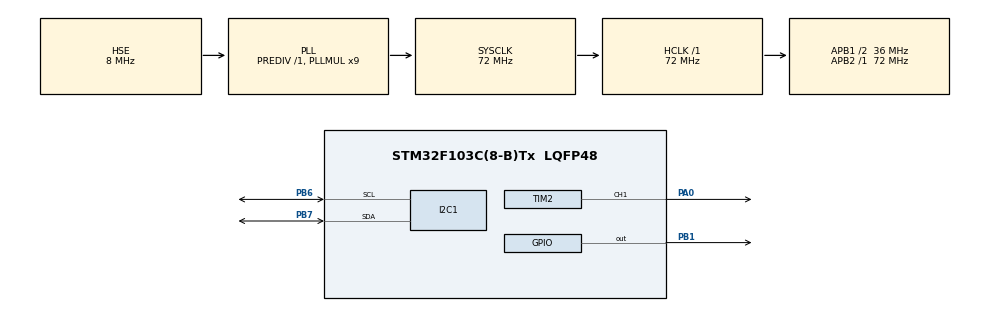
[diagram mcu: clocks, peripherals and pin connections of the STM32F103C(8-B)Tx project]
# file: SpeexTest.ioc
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Mcu.Family=STM32F1
Mcu.Name=STM32F103C(8-B)Tx
Mcu.Package=LQFP48
NVIC.PriorityGroup=NVIC_PRIORITYGROUP_4
NVIC.TIM3_IRQn=true\:0\:0\:false\:false\:true
PA0-WKUP.Signal=S_TIM2_CH1_ETR
PA13.Mode=Serial_Wire
PA13.Signal=SYS_JTMS-SWDIO
PA14.Mode=Serial_Wire
PA14.Signal=SYS_JTCK-SWCLK
PB1.Signal=GPIO_Output
PB6.Mode=I2C
PB6.Signal=I2C1_SCL
PB7.Mode=I2C
PB7.Signal=I2C1_SDA
PD0-OSC_IN.Mode=HSE-External-Oscillator
PD0-OSC_IN.Signal=RCC_OSC_IN
PD1-OSC_OUT.Mode=HSE-External-Oscillator
PD1-OSC_OUT.Signal=RCC_OSC_OUT
ProjectManager.HeapSize=0x200
ProjectManager.StackSize=0x400
ProjectManager.TargetToolchain=SW4STM32
RCC.AHBFreq_Value=72000000
RCC.APB1CLKDivider=RCC_HCLK_DIV2
RCC.APB1Freq_Value=36000000
RCC.APB1TimFreq_Value=72000000
RCC.APB2Freq_Value=72000000
RCC.APB2TimFreq_Value=72000000
RCC.HCLKFreq_Value=72000000
RCC.HSIState=RCC_HSI_ON
RCC.PLLMUL=RCC_PLL_MUL9
RCC.PLLSourceVirtual=RCC_PLLSOURCE_HSE
RCC.SYSCLKFreq_VALUE=72000000
RCC.SYSCLKSource=RCC_SYSCLKSOURCE_PLLCLK
RCC.USBFreq_Value=72000000
SH.S_TIM2_CH1_ETR.0=TIM2_CH1,PWM Generation1 CH1
TIM2.OCFastMode_PWM-PWM\ Generation1\ CH1=TIM_OCFAST_DISABLE
TIM2.Period=1024
TIM3.Period=3000
VP_TIM3_VS_ClockSourceINT.Mode=Internal
board=SpeexTest

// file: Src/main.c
/**
  ******************************************************************************
  * File Name          : main.c
  * Description        : Main program body
  ******************************************************************************
  *
  * COPYRIGHT(c) 2017 STMicroelectronics
  *
  * Redistribution and use in source and binary forms, with or without modification,
  * are permitted provided that the following conditions are met:
  *   1. Redistributions of source code must retain the above copyright notice,
  *      this list of conditions and the following disclaimer.
  *   2. Redistributions in binary form must reproduce the above copyright notice,
  *      this list of conditions and the following disclaimer in the documentation
  *      and/or other materials provided with the distribution.
  *   3. Neither the name of STMicroelectronics nor the names of its contributors
  *      may be used to endorse or promote products derived from this software
  *      without specific prior written permission.
  *
  * THIS SOFTWARE IS PROVIDED BY THE COPYRIGHT HOLDERS AND CONTRIBUTORS "AS IS"
  * AND ANY EXPRESS OR IMPLIED WARRANTIES, INCLUDING, BUT NOT LIMITED TO, THE
  * IMPLIED WARRANTIES OF MERCHANTABILITY AND FITNESS FOR A PARTICULAR PURPOSE ARE
  * DISCLAIMED. IN NO EVENT SHALL THE COPYRIGHT HOLDER OR CONTRIBUTORS BE LIABLE
  * FOR ANY DIRECT, INDIRECT, INCIDENTAL, SPECIAL, EXEMPLARY, OR CONSEQUENTIAL
  * DAMAGES (INCLUDING, BUT NOT LIMITED TO, PROCUREMENT OF SUBSTITUTE GOODS OR
  * SERVICES; LOSS OF USE, DATA, OR PROFITS; OR BUSINESS INTERRUPTION) HOWEVER
  * CAUSED AND ON ANY THEORY OF LIABILITY, WHETHER IN CONTRACT, STRICT LIABILITY,
  * OR TORT (INCLUDING NEGLIGENCE OR OTHERWISE) ARISING IN ANY WAY OUT OF THE USE
  * OF THIS SOFTWARE, EVEN IF ADVISED OF THE POSSIBILITY OF SUCH DAMAGE.
  *
  ******************************************************************************
  */
#include "stm32f1xx_hal.h"

/* USER CODE BEGIN Includes */
#include "config.h"
#include "main.h"
#include "stop.h"
#include "blast1.h"
#include "blast2.h"
#include "laser.h"
#include "detectorBeep.h"
#include "config.h"
#include <speex/speex.h>
#include "arch.h"
#include "math.h"
#include "24C02.h"

#define HAVE_CONFIG_H
#define MEMORY_ADDRESS     0x08

#define FRAME_SIZE              160
#define ENCODED_FRAME_SIZE      20

// #ifdef HAVE_CONFIG_H
// #include "config.h"
// #endif
/* USER CODE END Includes */

I2C_HandleTypeDef hi2c1;

TIM_HandleTypeDef htim2;
TIM_HandleTypeDef htim3;

/* USER CODE BEGIN PV */
/* Private variables ---------------------------------------------------------*/
__IO int16_t OUT_Buffer[2][FRAME_SIZE];//в этих буферах хранятся декодированные данные
__IO int16_t *outBuffer = OUT_Buffer[0];

__IO uint8_t Start_Decoding=0;//для управление декодированием

SpeexBits bits;/* Holds bits so they can be read and written by the Speex routines */
void *enc_state, *dec_state;/* Holds the states of the encoder & the decoder */
int quality = 4, complexity=1, vbr=0, enh=1;/* SPEEX PARAMETERS, MUST REMAINED UNCHANGED */

char input_bytes[ENCODED_FRAME_SIZE];//сюда копируются сжатые звковые данные
//указатель на этот массив передается в функцию декодирования

__IO uint16_t NB_Frames=0;//количество декодированных фреймов

int MAG3110_XOFF=0,MAG3110_YOFF=0;
int MAG3110_XMax=0,MAG3110_YMax=0,MAG3110_XMin=0,MAG3110_YMin=0;
int MAG3110_XData=0,MAG3110_YData=0;
int ang;

uint8_t xBuffer[1];
/* USER CODE END PV */

void SystemClock_Config(void);
void Error_Handler(void);
static void MX_GPIO_Init(void);
static void MX_TIM2_Init(void);
static void MX_TIM3_Init(void);
static void MX_I2C1_Init(void);

void HAL_TIM_MspPostInit(TIM_HandleTypeDef *htim);

/* USER CODE BEGIN PFP */
/* Private function prototypes -----------------------------------------------*/

void Speex_Init(void);
void play_message(unsigned char const *array, uint16_t frame_number);

void MAG3110_Init(void);
void MAG3110_STD(void);

/* USER CODE END PFP */

int main(void)
{

  /* MCU Configuration----------------------------------------------------------*/

  /* Reset of all peripherals, Initializes the Flash interface and the Systick. */
  HAL_Init();

  /* Configure the system clock */
  SystemClock_Config();

  /* Initialize all configured peripherals */
  MX_GPIO_Init();
  MX_TIM2_Init();
  MX_TIM3_Init();
  MX_I2C1_Init();

  /* USER CODE BEGIN 2 */

  Speex_Init();

  HAL_TIM_PWM_Start(&htim2,TIM_CHANNEL_1);
  HAL_TIM_Base_Start_IT(&htim3);

  //i= I2C_Read(I2C1,MAG3110_IIC_ADDRESS,WHO_AM_I_REG,0,1);
  MAG3110_Init();

  HAL_I2C_Mem_Read(&hi2c1, MAG3110_IIC_ADDRESS, WHO_AM_I_REG, I2C_MEMADD_SIZE_8BIT, xBuffer, 1, 5000);

  if (xBuffer[0] == MAG3110Q_ID)
    {
      // play_message(&laser[0],laser_frames);
      play_message(&detectorBeep[0],detectorBeep_frames);
      HAL_GPIO_TogglePin(GPIOB, GPIO_PIN_1);
    }
    else
    {
  // play_message(&blast1[0],blast1_frames);
  //     HAL_GPIO_TogglePin(GPIOB, GPIO_PIN_1);
    }

  /* USER CODE END 2 */

  /* Infinite loop */
  while (1)
  {

  /* USER CODE BEGIN 3 */

    //i=I2C_Read(I2C1,MAG3110_IIC_ADDRESS,STATUS_00_REG,0,1);

    HAL_I2C_Mem_Read(&hi2c1, MAG3110_IIC_ADDRESS, STATUS_00_REG, I2C_MEMADD_SIZE_8BIT, xBuffer, 1, 5000);

    if(xBuffer[0]&ZYXDR_MASK)
    {
    MAG3110_STD();

      if (ang > 300) {
        play_message(&detectorBeep[0],detectorBeep_frames);
        HAL_GPIO_TogglePin(GPIOB, GPIO_PIN_1);
      } else {
        HAL_GPIO_WritePin(GPIOB, GPIO_PIN_1, GPIO_PIN_RESET);
      }

    //printf("\r\nPoint to the south angle??%d??r\n",ang);
    }

    //play_message(&blast1[0],blast1_frames);
    // HAL_Delay(500);
    // play_message(&blast2[0],blast2_frames);
    // HAL_Delay(500);
  }
  /* USER CODE END 3 */

}

/** System Clock Configuration
*/
void SystemClock_Config(void)
{

  RCC_OscInitTypeDef RCC_OscInitStruct;
  RCC_ClkInitTypeDef RCC_ClkInitStruct;

  RCC_OscInitStruct.OscillatorType = RCC_OSCILLATORTYPE_HSE;
  RCC_OscInitStruct.HSEState = RCC_HSE_ON;
  RCC_OscInitStruct.HSEPredivValue = RCC_HSE_PREDIV_DIV1;
  RCC_OscInitStruct.PLL.PLLState = RCC_PLL_ON;
  RCC_OscInitStruct.PLL.PLLSource = RCC_PLLSOURCE_HSE;
  RCC_OscInitStruct.PLL.PLLMUL = RCC_PLL_MUL9;
  if (HAL_RCC_OscConfig(&RCC_OscInitStruct) != HAL_OK)
  {
    Error_Handler();
  }

  RCC_ClkInitStruct.ClockType = RCC_CLOCKTYPE_HCLK|RCC_CLOCKTYPE_SYSCLK
                              |RCC_CLOCKTYPE_PCLK1|RCC_CLOCKTYPE_PCLK2;
  RCC_ClkInitStruct.SYSCLKSource = RCC_SYSCLKSOURCE_PLLCLK;
  RCC_ClkInitStruct.AHBCLKDivider = RCC_SYSCLK_DIV1;
  RCC_ClkInitStruct.APB1CLKDivider = RCC_HCLK_DIV2;
  RCC_ClkInitStruct.APB2CLKDivider = RCC_HCLK_DIV1;
  if (HAL_RCC_ClockConfig(&RCC_ClkInitStruct, FLASH_LATENCY_2) != HAL_OK)
  {
    Error_Handler();
  }

  HAL_SYSTICK_Config(HAL_RCC_GetHCLKFreq()/1000);

  HAL_SYSTICK_CLKSourceConfig(SYSTICK_CLKSOURCE_HCLK);

  /* SysTick_IRQn interrupt configuration */
  HAL_NVIC_SetPriority(SysTick_IRQn, 0, 0);
}

/* I2C1 init function */
static void MX_I2C1_Init(void)
{

  hi2c1.Instance = I2C1;
  hi2c1.Init.ClockSpeed = 100000;
  hi2c1.Init.DutyCycle = I2C_DUTYCYCLE_2;
  hi2c1.Init.OwnAddress1 = MAG3110_IIC_ADDRESS; //0;
  hi2c1.Init.AddressingMode = I2C_ADDRESSINGMODE_7BIT;
  hi2c1.Init.DualAddressMode = I2C_DUALADDRESS_DISABLE;
  hi2c1.Init.OwnAddress2 = 0xFE;
  hi2c1.Init.GeneralCallMode = I2C_GENERALCALL_DISABLE;
  hi2c1.Init.NoStretchMode = I2C_NOSTRETCH_DISABLE;
  if (HAL_I2C_Init(&hi2c1) != HAL_OK)
  {
    Error_Handler();
  }
}

/* TIM2 init function */
static void MX_TIM2_Init(void)
{

  TIM_MasterConfigTypeDef sMasterConfig;
  TIM_OC_InitTypeDef sConfigOC;

  htim2.Instance = TIM2;
  htim2.Init.Prescaler = 0;
  htim2.Init.CounterMode = TIM_COUNTERMODE_UP;
  htim2.Init.Period = 512; //1024
  htim2.Init.ClockDivision = TIM_CLOCKDIVISION_DIV1;
  if (HAL_TIM_PWM_Init(&htim2) != HAL_OK)
  {
    Error_Handler();
  }

  sMasterConfig.MasterOutputTrigger = TIM_TRGO_RESET;
  sMasterConfig.MasterSlaveMode = TIM_MASTERSLAVEMODE_DISABLE;
  if (HAL_TIMEx_MasterConfigSynchronization(&htim2, &sMasterConfig) != HAL_OK)
  {
    Error_Handler();
  }

  sConfigOC.OCMode = TIM_OCMODE_PWM1;
  sConfigOC.Pulse = 0;
  sConfigOC.OCPolarity = TIM_OCPOLARITY_HIGH;
  sConfigOC.OCFastMode = TIM_OCFAST_DISABLE;
  if (HAL_TIM_PWM_ConfigChannel(&htim2, &sConfigOC, TIM_CHANNEL_1) != HAL_OK)
  {
    Error_Handler();
  }

  HAL_TIM_MspPostInit(&htim2);

}

/* TIM3 init function */

  static void MX_TIM3_Init(void)
{

  htim3.Instance = TIM3;
  htim3.Init.Prescaler = 0;
  htim3.Init.CounterMode = TIM_COUNTERMODE_UP;
  htim3.Init.Period = 4500;//9000;//4500;//2250;
  htim3.Init.ClockDivision = TIM_CLOCKDIVISION_DIV1;
  // if (HAL_TIM_Base_Init(&htim3) != HAL_OK)
  // {
  //   Error_Handler();
  // }

  // sClockSourceConfig.ClockSource = TIM_CLOCKSOURCE_INTERNAL;
  // if (HAL_TIM_ConfigClockSource(&htim3, &sClockSourceConfig) != HAL_OK)
  // {
  //   Error_Handler();
  // }

  // sMasterConfig.MasterOutputTrigger = TIM_TRGO_RESET;
  // sMasterConfig.MasterSlaveMode = TIM_MASTERSLAVEMODE_DISABLE;
  // if (HAL_TIMEx_MasterConfigSynchronization(&htim3, &sMasterConfig) != HAL_OK)
  // {
  //   Error_Handler();
  // }

  HAL_TIM_Base_Init(&htim3);

}

/** Configure pins as
        * Analog
        * Input
        * Output
        * EVENT_OUT
        * EXTI
*/
static void MX_GPIO_Init(void)
{

  GPIO_InitTypeDef GPIO_InitStruct;

  /* GPIO Ports Clock Enable */
  __HAL_RCC_GPIOD_CLK_ENABLE();
  __HAL_RCC_GPIOA_CLK_ENABLE();
  __HAL_RCC_GPIOB_CLK_ENABLE();

  /*Configure GPIO pin Output Level */
  HAL_GPIO_WritePin(GPIOB, GPIO_PIN_1, GPIO_PIN_RESET);

  /*Configure GPIO pin : PB1 */
  GPIO_InitStruct.Pin = GPIO_PIN_1;
  GPIO_InitStruct.Mode = GPIO_MODE_OUTPUT_PP;
  GPIO_InitStruct.Speed = GPIO_SPEED_FREQ_LOW;
  HAL_GPIO_Init(GPIOB, &GPIO_InitStruct);

}

/* USER CODE BEGIN 4 */

uint16_t MAG3110_DataProcess (int MAG3110_XData,int MAG3110_YData)
{

int MAG3110_Ang;

MAG3110_XData -= MAG3110_XOFF;
MAG3110_YData -= MAG3110_YOFF;
if (MAG3110_XData == 0)
{
if (MAG3110_YData>0)
{
MAG3110_Ang
= 90;
}
else
{
MAG3110_Ang
= 270;
}
}
else if (MAG3110_YData == 0)
{
if (MAG3110_XData>0)
{
MAG3110_Ang
= 0;
}
else
{
MAG3110_Ang
= 180;
}
}
else if ((MAG3110_XData > 0) && (MAG3110_YData > 0))
{
MAG3110_Ang = (atan ( ( (float)MAG3110_YData) / ( (float) MAG3110_XData ) ) )
* 180 / 3.14;
}
else if ((MAG3110_XData < 0) && (MAG3110_YData > 0))
{
MAG3110_XData = -MAG3110_XData;
MAG3110_Ang = 180
-
(atan ( ( (float)MAG3110_YData) / ( (float)
MAG3110_XData ) ) ) * 180 / 3.14;
}
else if ((MAG3110_XData < 0) && (MAG3110_YData < 0))
{
MAG3110_XData = -MAG3110_XData;
MAG3110_YData = -MAG3110_YData;
MAG3110_Ang = (atan ( ( (float)MAG3110_YData) / ( (float) MAG3110_XData ) ) )
* 180 / 3.14 + 180;
}
else if ((MAG3110_XData > 0) && (MAG3110_YData < 0))
{
MAG3110_YData = -MAG3110_YData;
MAG3110_Ang = 360
-
(atan ( ( (float)MAG3110_YData) / ( (float)
MAG3110_XData ) ) ) * 180 / 3.14;
}

return   MAG3110_Ang;
}

/*************************************************************************/
void MAG3110_STD(void)
// ´Ëº¯ÊýÐè¶à´ÎÖ´ÐÐÒÔ±£Ö¤Ðý×ªÒ»È¦ÖÐ
{
// ÄÜ¹»²É¼¯µ½ÕæÊµµÄ×î´óÖµºÍ×îÐ¡Öµ
  tword wx, wy, wz;
  static   uint8_t  First_Flag=0;
  //wx.mbyte.hi = I2C_Read(I2C1,MAG3110_IIC_ADDRESS,OUT_X_MSB_REG,0,1); //¶ÁÈ¡XÖá¸ß×Ö½Ú
  HAL_I2C_Mem_Read(&hi2c1, MAG3110_IIC_ADDRESS, OUT_X_MSB_REG, I2C_MEMADD_SIZE_8BIT, xBuffer, 1, 10000);
  wx.mbyte.hi = xBuffer[0];
  // wx.mbyte.lo = I2C_Read(I2C1,MAG3110_IIC_ADDRESS,OUT_X_LSB_REG,0,1); //¶ÁÈ¡XÖáµÍ×Ö½Ú
  HAL_I2C_Mem_Read(&hi2c1, MAG3110_IIC_ADDRESS, OUT_X_LSB_REG, I2C_MEMADD_SIZE_8BIT, xBuffer, 1, 10000);
  wx.mbyte.lo = xBuffer[0];
  // wy.mbyte.hi = I2C_Read(I2C1,MAG3110_IIC_ADDRESS,OUT_Y_MSB_REG,0,1); //¶ÁÈ¡YÖá¸ß×Ö½Ú
  HAL_I2C_Mem_Read(&hi2c1, MAG3110_IIC_ADDRESS, OUT_Y_MSB_REG, I2C_MEMADD_SIZE_8BIT, xBuffer, 1, 10000);
  wy.mbyte.hi = xBuffer[0];
  // wy.mbyte.lo = I2C_Read(I2C1,MAG3110_IIC_ADDRESS,OUT_Y_LSB_REG,0,1); //¶ÁÈ¡YÖáµÍ×Ö½Ú
  HAL_I2C_Mem_Read(&hi2c1, MAG3110_IIC_ADDRESS, OUT_Y_LSB_REG, I2C_MEMADD_SIZE_8BIT, xBuffer, 1, 10000);
  wy.mbyte.lo = xBuffer[0];
  // wz.mbyte.hi = I2C_Read(I2C1,MAG3110_IIC_ADDRESS,OUT_Z_MSB_REG,0,1); //¶ÁÈ¡ZÖá¸ß×Ö½Ú
  HAL_I2C_Mem_Read(&hi2c1, MAG3110_IIC_ADDRESS, OUT_Z_MSB_REG, I2C_MEMADD_SIZE_8BIT, xBuffer, 1, 10000);
  wz.mbyte.hi = xBuffer[0];
  // wz.mbyte.lo = I2C_Read(I2C1,MAG3110_IIC_ADDRESS,OUT_Z_LSB_REG,0,1); //¶ÁÈ¡ZÖáµÍ×Ö½Ú
  HAL_I2C_Mem_Read(&hi2c1, MAG3110_IIC_ADDRESS, OUT_Z_LSB_REG, I2C_MEMADD_SIZE_8BIT, xBuffer, 1, 10000);
  wz.mbyte.lo = xBuffer[0];

  printf("X:%d  ",wx.mbyte.hi*256+wx.mbyte.lo);
  printf("Y:%d  ",wy.mbyte.hi*256+wy.mbyte.lo);
  printf("Z:%d  ",wz.mbyte.hi*256+wz.mbyte.lo);

  MAG3110_XData=wx.mbyte.hi*256+wx.mbyte.lo;
  MAG3110_YData=wy.mbyte.hi*256+wy.mbyte.lo;

  if (!First_Flag)
  {
  MAG3110_XMax = MAG3110_XData;
  MAG3110_XMin = MAG3110_XData;
  MAG3110_YMax = MAG3110_YData;
  MAG3110_YMin = MAG3110_YData;
  First_Flag = 1;
  }
  if (MAG3110_XData > MAG3110_XMax)
  {
  MAG3110_XMax =  MAG3110_XData;
  }
  else if (MAG3110_XData < MAG3110_XMin)
  {
  MAG3110_XMin =  MAG3110_XData;
  }
  if (MAG3110_YData > MAG3110_YMax)
  {
  MAG3110_YMax =  MAG3110_YData;
  }
  else if (MAG3110_YData < MAG3110_YMin)
  {
  MAG3110_YMin =  MAG3110_YData;
  }
  MAG3110_XOFF = (MAG3110_XMax + MAG3110_XMin) / 2;
  MAG3110_YOFF = (MAG3110_YMax + MAG3110_YMin) / 2;

  //   printf("\r\nMAG3110_XMax£º%d ",MAG3110_XMax);
  // printf("MAG3110_XMin£º%d\r\n",MAG3110_XMin);
  //   printf("MAG3110_XOFF£º%d\r\n",MAG3110_XOFF);

  //   printf("\r\nMAG3110_YMax£º%d  ",MAG3110_YMax);
  // printf("MAG3110_YMin£º%d\r\n ",MAG3110_YMin);
  //   printf("AG3110_YOFF£º%d\r\n",MAG3110_YOFF);

  ang=MAG3110_DataProcess(wx.mbyte.hi*256+wx.mbyte.lo,wy.mbyte.hi*256+wy.mbyte.lo);
}

/*********************************************************\
* Put MAG3110Q into Active Mode
\*********************************************************/
void MAG3110_Active ()
{
  byte n;
  //n = I2C_Read(I2C1,MAG3110_IIC_ADDRESS,CTRL_REG1,0,1);
  //HAL_I2C_Master_Receive(&hi2c1, MAG3110_IIC_ADDRESS, n, 1, 5);
  HAL_I2C_Mem_Read(&hi2c1, MAG3110_IIC_ADDRESS, CTRL_REG1, I2C_MEMADD_SIZE_8BIT, xBuffer, 1, 5000);
  //I2C_WriteOneByte(I2C1,MAG3110_IIC_ADDRESS,CTRL_REG1,n&0XFC|ACTIVE_MASK);
  n = xBuffer[0];
  xBuffer[0] = (n&0xFC)|ACTIVE_MASK;
  HAL_I2C_Mem_Write(&hi2c1, MAG3110_IIC_ADDRESS, CTRL_REG1, I2C_MEMADD_SIZE_8BIT, xBuffer, 1, 5000);
}

/*********************************************************\
* Put MAG3110Q into Standby Mode
\*********************************************************/
void MAG3110_Standby (void)
{
  byte n;

  //n = I2C_Read(I2C1,MAG3110_IIC_ADDRESS,CTRL_REG1,0,1);
  //HAL_I2C_Master_Receive(&hi2c1, MAG3110_IIC_ADDRESS, xBuffer, 1, 5);
  HAL_I2C_Mem_Read(&hi2c1, MAG3110_IIC_ADDRESS, CTRL_REG1, I2C_MEMADD_SIZE_8BIT, xBuffer, 1, 5000);
   //I2C_WriteOneByte(I2C1,MAG3110_IIC_ADDRESS,CTRL_REG1, n&0xFC|STANDBY_MASK);
  n = xBuffer[0];
  xBuffer[0] = (n&0xFC)|STANDBY_MASK;
  HAL_I2C_Mem_Write(&hi2c1, MAG3110_IIC_ADDRESS, CTRL_REG1, I2C_MEMADD_SIZE_8BIT, xBuffer, 1, 5000);
}

/*********************************************************\
 * Initialize MAG3110Q
\*********************************************************/
void MAG3110_Init (void)
{
  MAG3110_Standby();
  //I2C_WriteOneByte(I2C1,MAG3110_IIC_ADDRESS,CTRL_REG1, DATA_RATE_5MS);
  //HAL_I2C_Master_Transmit(&hi2c1, MAG3110_IIC_ADDRESS, CTRL_REG1, 1, 5);
  xBuffer[0] = DATA_RATE_5MS;
  HAL_I2C_Mem_Write(&hi2c1, MAG3110_IIC_ADDRESS, CTRL_REG1, I2C_MEMADD_SIZE_8BIT, xBuffer, 1, 5000);
  MAG3110_Active();
}

void Delay( long Val)
{
  for( ; Val != 0; Val--) {
    __NOP();
  }
}

void play_message(unsigned char const *array, uint16_t frame_number)
{
  int i;
  uint16_t sample_index = 0;

    //Начальное заполнение выходного буфера

    /* we prepare two buffers of decoded data: */
    /* the first one, */
    for(i=0;i<ENCODED_FRAME_SIZE; i++)
    {
      input_bytes[i] = array[sample_index];
      sample_index++;
    }
    speex_bits_read_from(&bits, input_bytes, ENCODED_FRAME_SIZE);
    speex_decode_int(dec_state, &bits, (spx_int16_t*)OUT_Buffer[0]);

    /* and the second one. */
    for(i=0;i<ENCODED_FRAME_SIZE; i++)
    {
      input_bytes[i] = array[sample_index];
      sample_index++;
    }

    speex_bits_read_from(&bits, input_bytes, ENCODED_FRAME_SIZE);
    speex_decode_int(dec_state, &bits, (spx_int16_t*)OUT_Buffer[1]);

    NB_Frames++;

    //Начало воспроизведения звука
    //Заключается в считывании информации из основного массива
    //и ее декодирования по мере необходимости
    while(NB_Frames < frame_number)
    {
      if(Start_Decoding == 1) /* we start decoding the first buffer */
      {
        for(i=0;i<ENCODED_FRAME_SIZE; i++)
        {
          input_bytes[i] = array[sample_index];
          sample_index++;
        }

        speex_bits_read_from(&bits, input_bytes, ENCODED_FRAME_SIZE);
        speex_decode_int(dec_state, &bits, (spx_int16_t*)OUT_Buffer[0]);

        Start_Decoding = 0;
        NB_Frames++;
      }
      if(Start_Decoding == 2) /* we start decoding the second buffer */
      {
        for(i=0;i<ENCODED_FRAME_SIZE; i++)
        {
          input_bytes[i] = array[sample_index];
          sample_index++;
        }

        speex_bits_read_from(&bits, input_bytes, ENCODED_FRAME_SIZE);
        speex_decode_int(dec_state, &bits, (spx_int16_t*)OUT_Buffer[1]);

        Start_Decoding = 0;
        NB_Frames++;
      }

    }//end while

    sample_index = 0;

    NB_Frames = 0;
    outBuffer = OUT_Buffer[0];

}

//инициализация декодера
void Speex_Init(void)
{
  speex_bits_init(&bits);

  /* speex decoding intilalization */
  dec_state = speex_decoder_init(&speex_nb_mode);
  speex_decoder_ctl(dec_state, SPEEX_SET_ENH, &enh);
}

void TIM3_IRQHandler(void)
{
  /* USER CODE BEGIN TIM3_IRQn 0 */
  HAL_TIM_IRQHandler(&htim3);

  /* USER CODE END TIM3_IRQn 0 */

  /* USER CODE BEGIN TIM3_IRQn 1 */
  uint16_t tmp;
    //Читаем из текущего буфера значение
    //понижаем его разрядность и прибавляем 512, поскольку
    //в буфере число со знаком

    //tmp = (uint16_t)(((*outBuffer>>5)) + 0x400);
    //tmp =  (((*outBuffer>>3)) + 2250);
    tmp = (uint16_t)(((*outBuffer>>5)) + 0x200);

    //DAC_SetChannel1Data(DAC_Align_12b_R, tmp);
    TIM2->CCR1 = tmp;
    //Если дошли до конца буфера, изменяем указатель на другой буфер
    //и начинаем декодировать данные

    if(outBuffer == &OUT_Buffer[1][159])
    {
      outBuffer = OUT_Buffer[0];
      Start_Decoding = 2;
    }
    else if(outBuffer == &OUT_Buffer[0][159])
    {
      outBuffer++;
      Start_Decoding = 1;
    }
    else
    {
      outBuffer++;
    }

  // static int dir = 0;

  // if (dir == 0) dir = 1024;
  // else dir = 0;
  // TIM2->CCR1 = dir;

  // HAL_GPIO_TogglePin(GPIOB, GPIO_PIN_1);

  /* USER CODE END TIM3_IRQn 1 */
}
/* USER CODE END 4 */

void Error_Handler(void)
{
  /* USER CODE BEGIN Error_Handler */
  /* User can add his own implementation to report the HAL error return state */
  while(1)
  {
    // HAL_GPIO_WritePin(GPIOB, GPIO_PIN_1, GPIO_PIN_SET);
  }
  /* USER CODE END Error_Handler */
}

/************************ (C) COPYRIGHT STMicroelectronics *****END OF FILE****/
